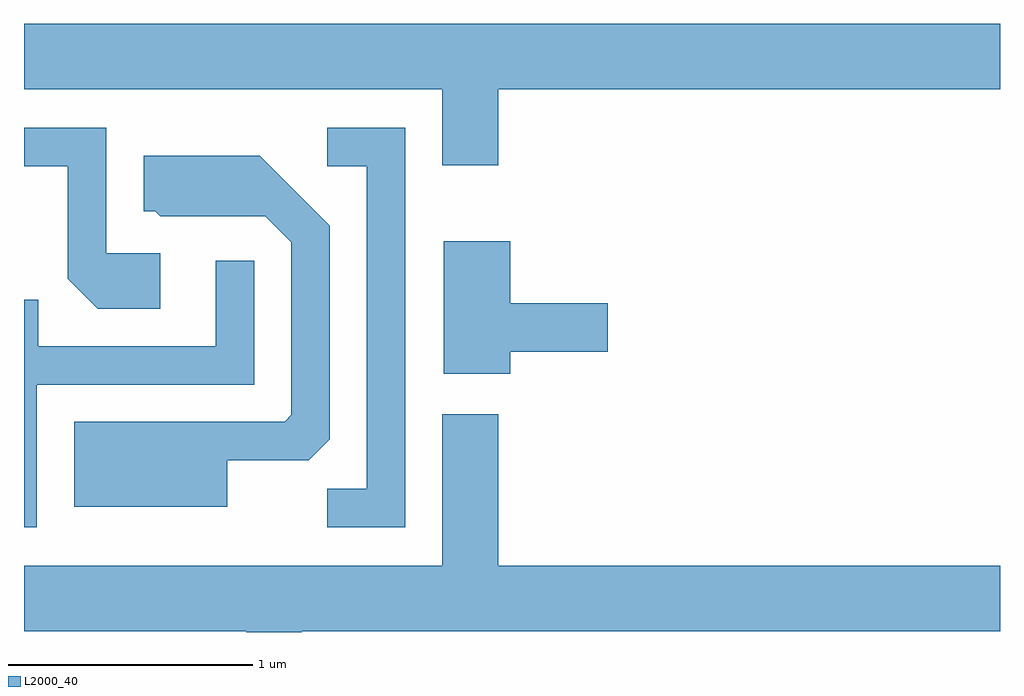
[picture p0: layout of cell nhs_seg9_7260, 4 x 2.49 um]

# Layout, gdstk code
import gdstk
lib = gdstk.Library(unit=1e-6, precision=1e-09)
def P(c, l, *ps):  # polygons
    for p in ps: c.add(gdstk.Polygon(p, *l))
L2000_40 = (2000, 40)

nhs_seg9_7260 = lib.new_cell('nhs_seg9_7260')
P(nhs_seg9_7260, L2000_40, [(401.554,2040.656),(403.611,2040.656),(403.611,2040.924),(399.611,2040.924),(399.611,2040.656),(401.326,2040.656),(401.326,2040.346),(401.554,2040.346)],
  [(400.169,2039.984),(399.949,2039.984),(399.949,2040.499),(399.611,2040.499),(399.611,2040.341),(399.791,2040.341),(399.791,2039.879),(399.914,2039.756),(400.169,2039.756)],
  [(401.174,2040.499),(400.853,2040.499),(400.853,2040.341),(401.016,2040.341),(401.016,2039.019),(400.853,2039.019),(400.853,2038.861),(401.174,2038.861)],
  [(400.444,2039.136),(400.779,2039.136),(400.864,2039.222),(400.864,2040.097),(400.577,2040.384),(400.101,2040.384),(400.101,2040.156),(400.149,2040.156),(400.169,2040.136),(400.599,2040.136),(400.706,2040.029),(400.706,2039.322),(400.679,2039.294),(399.816,2039.294),(399.816,2038.946),(400.444,2038.946)],
  [(401.604,2039.581),(402.004,2039.581),(402.004,2039.779),(401.604,2039.779),(401.604,2040.034),(401.331,2040.034),(401.331,2039.491),(401.604,2039.491)],
  [(399.664,2039.446),(400.554,2039.446),(400.554,2039.953),(400.396,2039.953),(400.396,2039.604),(399.669,2039.604),(399.669,2039.793),(399.611,2039.793),(399.611,2038.861),(399.664,2038.861)],
  [(400.749,2038.436),(403.611,2038.436),(403.611,2038.704),(401.554,2038.704),(401.554,2039.324),(401.326,2039.324),(401.326,2038.704),(399.611,2038.704),(399.611,2038.436),(400.521,2038.436),(400.521,2038.432),(400.749,2038.432)])

lib.write_gds('nhs_seg9_7260.gds')
